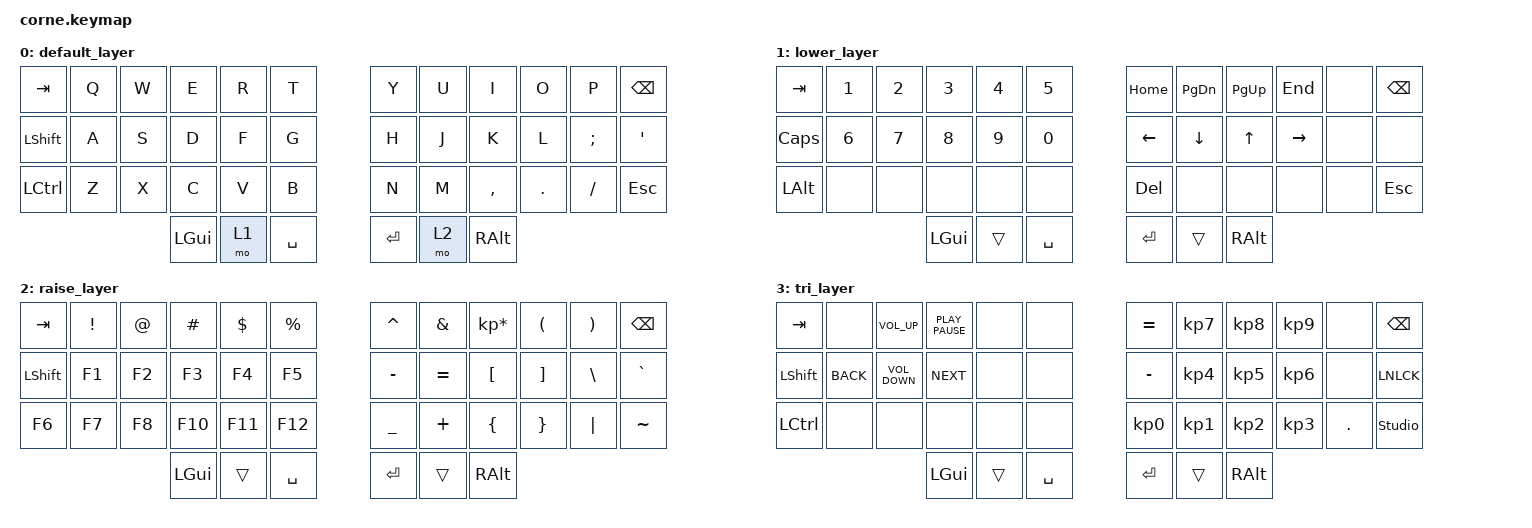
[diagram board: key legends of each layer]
/*
 * Copyright (c) 2020 The ZMK Contributors
 *
 * SPDX-License-Identifier: MIT
 */

#include <behaviors.dtsi>
#include <dt-bindings/zmk/bt.h>
#include <dt-bindings/zmk/keys.h>
#include <dt-bindings/zmk/mouse.h>



/ {
    keymap {
        compatible = "zmk,keymap";

        default_layer {
            // -----------------------------------------------------------------------------------------
            // |  TAB |  Q  |  W  |  E  |  R  |  T  |   |  Y  |  U   |  I  |  O  |  P  | BKSP |
            // | SHIFT|  A  |  S  |  D  |  F  |  G  |   |  H  |  J   |  K  |  L  |  ;  |  '   |
            // | CTRL |  Z  |  X  |  C  |  V  |  B  |   |  N  |  M   |  ,  |  .  |  /  | ESC  |
            //                    | GUI | LWR | SPC |   | ENT | RSE  | ALT |

            bindings = <
&kp TAB    &kp Q  &kp W  &kp E     &kp R  &kp T        &kp Y    &kp U  &kp I      &kp O    &kp P     &kp BSPC
&kp LSHIFT &kp A  &kp S  &kp D     &kp F  &kp G        &kp H    &kp J  &kp K      &kp L    &kp SEMI  &kp SQT
&kp LCTRL  &kp Z  &kp X  &kp C     &kp V  &kp B        &kp N    &kp M  &kp COMMA  &kp DOT  &kp FSLH  &kp ESC
                         &kp LGUI  &mo 1  &kp SPACE    &kp RET  &mo 2  &kp RALT
            >;
        };

        lower_layer {
            // -----------------------------------------------------------------------------------------
            // |  TAB |  1  |  2  |  3  |  4  |  5  |   | HOME| PGDN| PGUP| END |     | BKSP |
            // | CAPS |  6  |  7  |  8  |  9  |  0  |   | LFT | DWN |  UP | RGT |     |      |
            // | SHFT |     |     |     |     |     |   |     |     |     |     |     |  ESC |
            //                    | GUI |     | SPC |   | ENT |     | ALT |

            bindings = <
&kp TAB     &kp N1        &kp N2        &kp N3        &kp N4        &kp N5          &kp HOME  &kp PG_DN &kp PG_UP &kp END    &none  &kp BSPC
&kp CLCK    &kp N6        &kp N7        &kp N8        &kp N9        &kp N0          &kp LEFT  &kp DOWN  &kp UP    &kp RIGHT  &none  &none
&kp LALT   &none         &none         &none         &none         &none           &kp DEL   &none     &none     &none      &none  &kp ESC
                                        &kp LGUI      &trans        &kp SPACE       &kp RET   &trans    &kp RALT
            >;
        };

        raise_layer {
            // -----------------------------------------------------------------------------------------
            // |  TAB |  !  |  @  |  #  |  $  |  %  |   |  ^  |  &  |  *  |  (  |  )  | BKSP |
            // | SHIFT |  F1 | F2   | F3   | F4   |     |   |  -  |  =  |  [  |  ]  |  \  |  `   |
            // | CTRL |     |     |     |     |     |   |  _  |  +  |  {  |  }  | "|" |  ~   |
            //                    | GUI |     | SPC |   | ENT |     | ALT |

            bindings = <
&kp TAB    &kp EXCL  &kp AT  &kp HASH   &kp DLLR  &kp PRCNT    &kp CARET  &kp AMPS   &kp KP_MULTIPLY  &kp LPAR  &kp RPAR  &kp BSPC
&kp LSHIFT &kp F1    &kp F2  &kp F3     &kp F4    &kp F5       &kp MINUS  &kp EQUAL  &kp LBKT         &kp RBKT  &kp BSLH  &kp GRAVE
&kp F6     &kp F7    &kp F8  &kp F10    &kp F11   &kp F12      &kp UNDER  &kp PLUS   &kp LBRC         &kp RBRC  &kp PIPE  &kp TILDE
                             &kp LGUI   &trans    &kp SPACE    &kp RET    &trans     &kp RALT
            >;
        };

        tri_layer {
            // -----------------------------------------------------------------------------------------
            // |  TAB |  !  |  @  |  #  |  $  |  %  |   |  ^  |  &  |  *  |  (  |  )  | BKSP |
            // | SHIFT |     |     |     |     |     |   |  -  |  =  |  [  |  ]  |  \  |  `   |
            // | CTRL |     |     |     |     |     |   |  _  |  +  |  {  |  }  | "|" |  ~   |
            //                    | GUI |     | SPC |   | ENT |     | ALT |

            bindings = <
&kp TAB    &none        &kp K_VOL_UP       &kp K_PLAY_PAUSE   &none             &none        &kp EQUAL  &kp KP_N7   &kp KP_N8  &kp KP_N9 &none       &kp BSPC
&kp LSHIFT &kp K_BACK   &kp K_VOLUME_DOWN  &kp K_NEXT         &none             &none        &kp MINUS  &kp KP_N4   &kp KP_N5  &kp KP_N6 &none       &kp LNLCK
&kp LCTRL  &none        &none              &none              &none             &none        &kp KP_N0  &kp KP_N1   &kp KP_N2  &kp KP_N3 &kp PERIOD  &studio_unlock
                                           &kp LGUI           &trans            &kp SPACE    &kp RET    &trans      &kp RALT
            >;
        };
    };

        conditional_layers {
            compatible = "zmk,conditional-layers";
            tri_layer {
                if-layers = <1 2>;
                then-layer = <3>;
        };
    };
};
